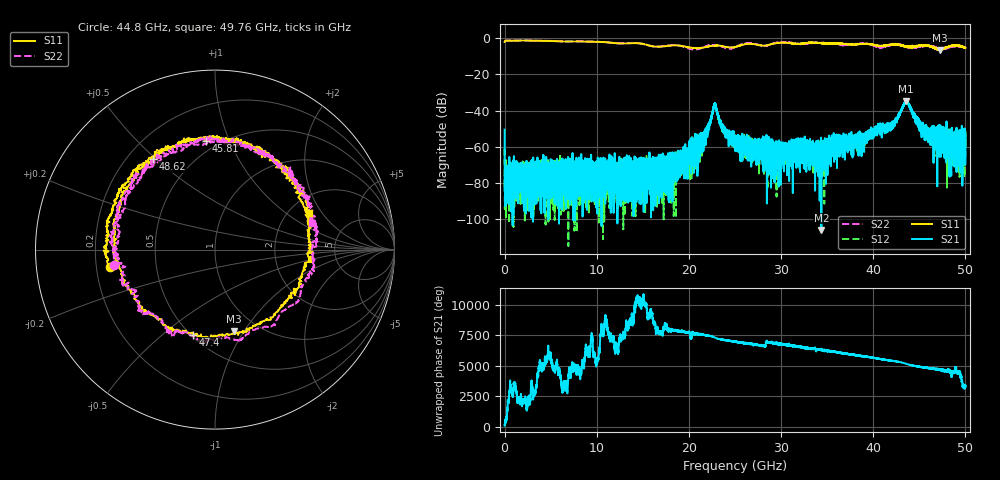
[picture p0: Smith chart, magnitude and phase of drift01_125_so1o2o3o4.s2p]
!Created with skrf (http://scikit-rf.org).
# Hz S RI R 50.0
!freq ReS11 ImS11 ReS21 ImS21 ReS12 ImS12 ReS22 ImS22
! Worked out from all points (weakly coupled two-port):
!   10001 points, 300 kHz to 50 GHz, reference 50 ohm
!   highest |S21| = -34.68 dB at 43.56 GHz (marker M1); lowest = -105.8 dB at 34.37 GHz (marker M2)
!   lowest |S11| = -6.6 dB at 47.21 GHz (marker M3), VSWR 2.76, Z = 38.8 - j45.2 ohm
!   |S11| at or under -10 dB: nowhere
!   |S22| runs from -6.4 to -1.4 dB; largest |S21 - S12| = 0.004
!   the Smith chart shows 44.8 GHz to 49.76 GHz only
!   S11 on the Smith chart (normalised r, x): 44.8 GHz: 0.26, -0.08; 45.81 GHz: 0.43, +0.82; 47.4 GHz: 0.51, -0.64; 48.62 GHz: 0.30, +0.49; 49.76 GHz: 2.56, +1.53
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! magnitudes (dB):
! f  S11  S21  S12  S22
! 300 kHz  -2.1  -50.5  -60.9  -2.1
! 270.3 MHz  -1.4  -77.3  -82.6  -1.4
! 8.335 GHz  -1.9  -75.3  -70.0  -1.8
! 16.67 GHz  -4.8  -73.9  -72.0  -4.8
! 18.1 GHz  -4.2  -69.7  -69.1  -3.9
! 21.11 GHz  -5.6  -64.0  -61.5  -5.9
! 22.78 GHz  -4.3  -36.4  -36.8  -4.0
! 23.73 GHz  -4.6  -49.8  -50.7  -4.9
! 25 GHz  -5.0  -54.1  -56.0  -5.1
! 29.71 GHz  -2.7  -68.0  -63.8  -2.4
! 31.57 GHz  -3.2  -60.0  -61.1  -3.1
! 33.34 GHz  -2.6  -64.4  -62.3  -2.7
! 34.37 GHz  -2.8  -105.8  -61.2  -2.6
! 41.67 GHz  -3.9  -49.2  -49.2  -4.2
! 43.56 GHz  -4.6  -34.7  -35.4  -4.7
! 44.8 GHz  -4.6  -43.6  -46.9  -4.9
! 45.81 GHz  -4.3  -50.6  -51.3  -4.3
! 47.21 GHz  -6.6  -58.9  -51.4  -5.8
! 47.4 GHz  -6.2  -55.3  -57.8  -5.8
! 48.62 GHz  -4.3  -57.5  -54.0  -4.7
! 49.76 GHz  -5.0  -62.3  -55.9  -5.0
! 50 GHz  -5.5  -52.2  -55.9  -5.3
